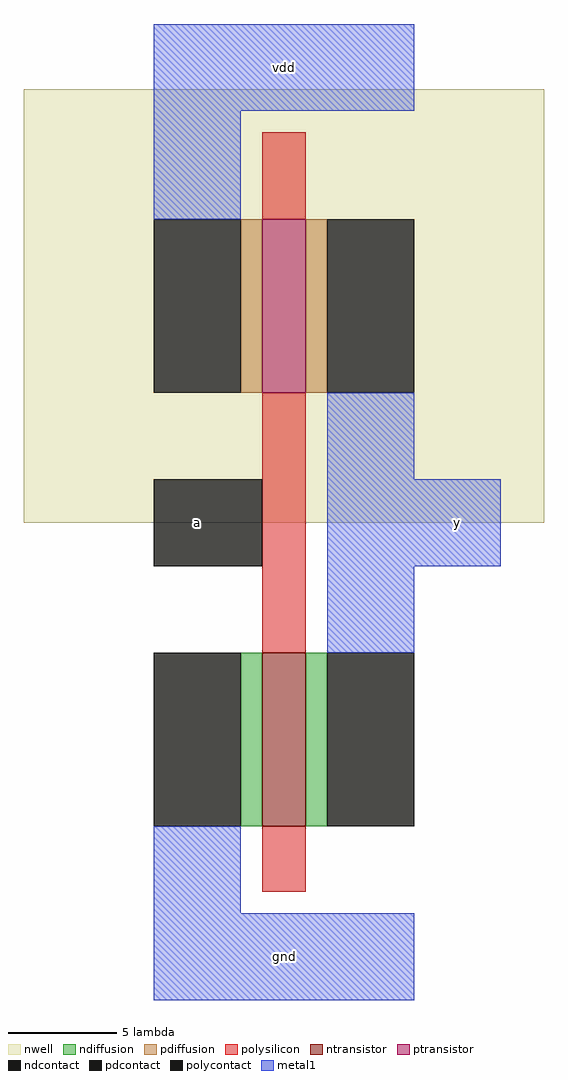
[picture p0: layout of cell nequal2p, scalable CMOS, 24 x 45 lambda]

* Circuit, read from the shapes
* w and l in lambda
.subckt nequal2p a gnd vdd y
M1 y a gnd VSUBS nfet w=8 l=2
M2 y a vdd n1 pfet w=8 l=2
.ends

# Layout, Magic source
magic
tech scmos
<< nwell >>
rect -8 8 16 28
<< ntransistor >>
rect 3 -6 5 2
<< ptransistor >>
rect 3 14 5 22
<< ndiffusion >>
rect 2 -6 3 2
rect 5 -6 6 2
<< pdiffusion >>
rect 2 14 3 22
rect 5 14 6 22
<< ndcontact >>
rect -2 -6 2 2
rect 6 -6 10 2
<< pdcontact >>
rect -2 14 2 22
rect 6 14 10 22
<< polysilicon >>
rect 3 22 5 26
rect 3 2 5 14
rect 3 -9 5 -6
<< polycontact >>
rect -2 6 3 10
<< metal1 >>
rect -2 27 10 31
rect -2 22 2 27
rect 6 10 10 14
rect 6 6 14 10
rect 6 2 10 6
rect -2 -10 2 -6
rect -2 -14 10 -10
<< labels >>
rlabel polycontact 0 8 0 8 1 a
rlabel metal1 12 8 12 8 7 y
rlabel metal1 4 -12 4 -12 1 gnd
rlabel metal1 4 29 4 29 5 vdd
<< end >>
